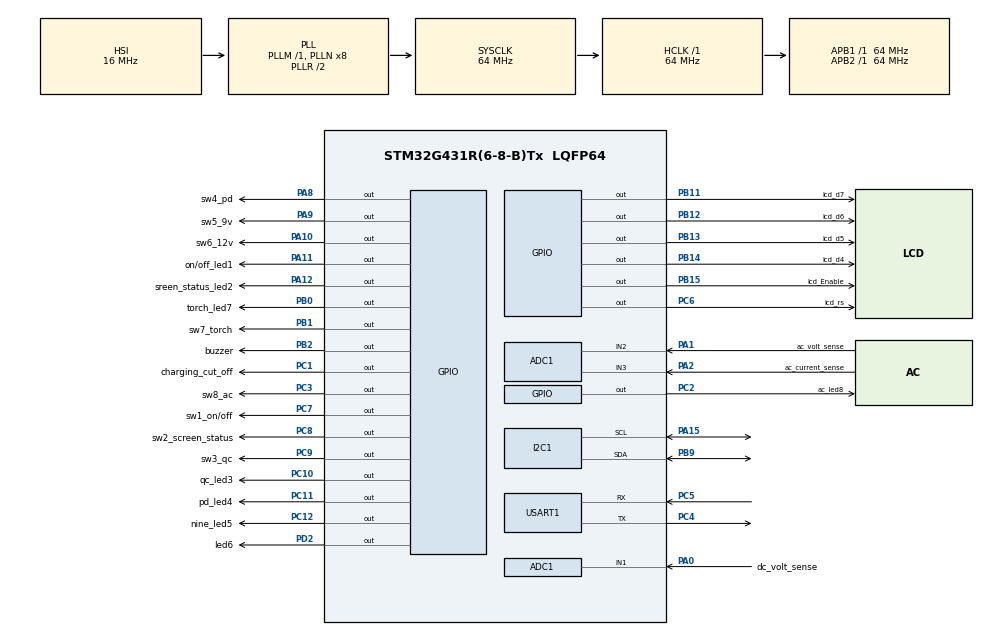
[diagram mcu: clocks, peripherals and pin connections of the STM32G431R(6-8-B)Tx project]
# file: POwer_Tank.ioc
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ADC1.Channel-9\#ChannelRegularConversion=ADC_CHANNEL_1
ADC1.NbrOfConversionFlag=1
ADC1.OffsetNumber-9\#ChannelRegularConversion=ADC_OFFSET_NONE
ADC1.Rank-9\#ChannelRegularConversion=1
ADC1.SamplingTime-9\#ChannelRegularConversion=ADC_SAMPLETIME_2CYCLES_5
ADC1.master=1
I2C1.Timing=0x10B17DB5
Mcu.Family=STM32G4
Mcu.Name=STM32G431R(6-8-B)Tx
Mcu.Package=LQFP64
NVIC.PriorityGroup=NVIC_PRIORITYGROUP_4
PA0.GPIO_Label=dc_volt_sense
PA0.Mode=IN1-Single-Ended
PA0.Signal=ADC1_IN1
PA1.GPIO_Label=ac_volt_sense
PA1.Mode=IN2-Single-Ended
PA1.Signal=ADC1_IN2
PA10.GPIO_Label=sw6_12v
PA10.Signal=GPIO_Output
PA11.GPIO_Label=on/off_led1
PA11.Signal=GPIO_Output
PA12.GPIO_Label=sreen_status_led2
PA12.Signal=GPIO_Output
PA13.Mode=Serial_Wire
PA13.Signal=SYS_JTMS-SWDIO
PA14.Mode=Serial_Wire
PA14.Signal=SYS_JTCK-SWCLK
PA15.Mode=I2C
PA15.Signal=I2C1_SCL
PA2.GPIO_Label=ac_current_sense
PA2.Mode=IN3-Single-Ended
PA2.Signal=ADC1_IN3
PA8.GPIO_Label=sw4_pd
PA8.Signal=GPIO_Output
PA9.GPIO_Label=sw5_9v
PA9.Signal=GPIO_Output
PB0.GPIO_Label=torch_led7
PB0.Signal=GPIO_Output
PB1.GPIO_Label=sw7_torch
PB1.Signal=GPIO_Output
PB11.GPIO_Label=lcd_d7
PB11.Signal=GPIO_Output
PB12.GPIO_Label=lcd_d6
PB12.Signal=GPIO_Output
PB13.GPIO_Label=lcd_d5
PB13.Signal=GPIO_Output
PB14.GPIO_Label=lcd_d4
PB14.Signal=GPIO_Output
PB15.GPIO_Label=lcd_Enable
PB15.Signal=GPIO_Output
PB2.GPIO_Label=buzzer
PB2.Signal=GPIO_Output
PB4.GPIO_Label=pwm_L2
PB4.Signal=S_TIM3_CH1
PB5.GPIO_Label=pmm_H2
PB5.Signal=S_TIM3_CH2
PB6.GPIO_Label=pwm_L1
PB6.Signal=S_TIM4_CH1
PB7.GPIO_Label=pwm_H1
PB7.Signal=S_TIM4_CH2
PB9.Mode=I2C
PB9.Signal=I2C1_SDA
PC1.GPIO_Label=charging_cut_off
PC1.Signal=GPIO_Output
PC10.GPIO_Label=qc_led3
PC10.Signal=GPIO_Output
PC11.GPIO_Label=pd_led4
PC11.Signal=GPIO_Output
PC12.GPIO_Label=nine_led5
PC12.Signal=GPIO_Output
PC14-OSC32_IN.Mode=LSE-External-Oscillator
PC14-OSC32_IN.Signal=RCC_OSC32_IN
PC15-OSC32_OUT.Mode=LSE-External-Oscillator
PC15-OSC32_OUT.Signal=RCC_OSC32_OUT
PC2.GPIO_Label=ac_led8
PC2.Signal=GPIO_Output
PC3.GPIO_Label=sw8_ac
PC3.Signal=GPIO_Output
PC4.Mode=Asynchronous
PC4.Signal=USART1_TX
PC5.Mode=Asynchronous
PC5.Signal=USART1_RX
PC6.GPIO_Label=lcd_rs
PC6.Signal=GPIO_Output
PC7.GPIO_Label=sw1_on/off
PC7.Signal=GPIO_Output
PC8.GPIO_Label=sw2_screen_status
PC8.Signal=GPIO_Output
PC9.GPIO_Label=sw3_qc
PC9.Signal=GPIO_Output
PD2.GPIO_Label=led6
PD2.Signal=GPIO_Output
PF0-OSC_IN.Mode=HSE-External-Oscillator
PF0-OSC_IN.Signal=RCC_OSC_IN
PF1-OSC_OUT.Mode=HSE-External-Oscillator
PF1-OSC_OUT.Signal=RCC_OSC_OUT
ProjectManager.HeapSize=0x200
ProjectManager.StackSize=0x400
ProjectManager.TargetToolchain=STM32CubeIDE
RCC.ADC12Freq_Value=64000000
RCC.AHBFreq_Value=64000000
RCC.APB1Freq_Value=64000000
RCC.APB1TimFreq_Value=64000000
RCC.APB2Freq_Value=64000000
RCC.APB2TimFreq_Value=64000000
RCC.CortexFreq_Value=64000000
RCC.EXTERNAL_CLOCK_VALUE=12288000
RCC.HCLKFreq_Value=64000000
RCC.HSE_VALUE=8000000
RCC.HSI48_VALUE=48000000
RCC.HSI_VALUE=16000000
RCC.SYSCLKFreq_VALUE=64000000
RCC.SYSCLKSource=RCC_SYSCLKSOURCE_PLLCLK
RCC.USBFreq_Value=64000000
RCC.VCOOutputFreq_Value=128000000
SH.S_TIM3_CH1.0=TIM3_CH1
SH.S_TIM3_CH2.0=TIM3_CH2
SH.S_TIM4_CH1.0=TIM4_CH1
SH.S_TIM4_CH2.0=TIM4_CH2
USART1.VirtualMode-Asynchronous=VM_ASYNC
VP_RTC_VS_RTC_Activate.Mode=RTC_Enabled
VP_SYS_VS_DBSignals.Mode=DisableDeadBatterySignals
board=custom

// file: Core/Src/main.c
/* USER CODE BEGIN Header */
/**
 ******************************************************************************
 * @file           : main.c
 * @brief          : Main program body
 ******************************************************************************
 * @attention
 *
 * Copyright (c) 2024 STMicroelectronics.
 * All rights reserved.
 *
 * This software is licensed under terms that can be found in the LICENSE file
 * in the root directory of this software component.
 * If no LICENSE file comes with this software, it is provided AS-IS.
 *
 ******************************************************************************
 */
/* USER CODE END Header */
#include "main.h"

/* USER CODE BEGIN Includes */

#include <stdio.h>

#define DS1307_ADDRESS 0x68 << 1 // This adderess for rtc operation
char timeData[15];
char dateData[15];

#define power pos
uint16_t pos;
uint16_t power;
uint8_t sw1_count = 1;
uint8_t sw2_count = 0;
uint8_t sw3_count = 0;
uint8_t sw4_count = 0;
uint8_t sw5_count = 0;
uint8_t sw6_count = 0;
uint8_t sw7_count = 0;

char msg[20];
uint16_t read_value=90;
float batt_persen;
uint16_t i = 0;

/********************--------DC VOLTAGE SENSE DEECLARATION START------------***************/
float dcvout = 0.0;
float dcvin = 0.0;
float R1 = 14000;
float R2 = 4600;
int dcvalue = 0;
/********************--------DC VOLTAGE SENSE DEECLARATION END------------***************/
/* USER CODE END Includes */

ADC_HandleTypeDef hadc1;

I2C_HandleTypeDef hi2c1;

RTC_HandleTypeDef hrtc;

UART_HandleTypeDef huart1;

/* USER CODE BEGIN PV */
// enum batt_persen {}

/* USER CODE END PV */

void SystemClock_Config(void);
static void MX_GPIO_Init(void);
static void MX_ADC1_Init(void);
static void MX_USART1_UART_Init(void);
static void MX_RTC_Init(void);
static void MX_I2C1_Init(void);

/* USER CODE BEGIN 0 */

/********************** simple ocde start******************/

enum power
{
  standby,
  scrn_status,
  qc,
  pd,
  dc_9v,
  dc_12v,
  AC
};

void standby_data()
{

  if (sw1_count == 1)
  {
    // lcd_clear();
    // default_lcd_print_page1();
    HAL_GPIO_WritePin(on_off_led1_GPIO_Port, on_off_led1_Pin, GPIO_PIN_SET);
    //	  HAL_Delay(300);
    HAL_GPIO_WritePin(sreen_status_led2_GPIO_Port, sreen_status_led2_Pin, GPIO_PIN_RESET);
    HAL_GPIO_WritePin(qc_led3_GPIO_Port, qc_led3_Pin, GPIO_PIN_RESET);
    HAL_GPIO_WritePin(pd_led4_GPIO_Port, pd_led4_Pin, GPIO_PIN_RESET);
    HAL_GPIO_WritePin(nine_led5_GPIO_Port, nine_led5_Pin, GPIO_PIN_RESET);
    HAL_GPIO_WritePin(led6_GPIO_Port, led6_Pin, GPIO_PIN_RESET);
    HAL_GPIO_WritePin(sreen_status_led2_GPIO_Port, sreen_status_led2_Pin, GPIO_PIN_RESET);
    power = 0;
  }
  else if (sw1_count == 0)
  {
    // lcd_clear();
    power = 0;
  }
}
// uint16_t batt_per = 0;
void screen_status_data()
{
  if (sw2_count == 1)
  {

    HAL_GPIO_WritePin(sreen_status_led2_GPIO_Port, sreen_status_led2_Pin, GPIO_PIN_SET);

    lcd_puts(0, 7, (int8_t *)timeData);
    lcd_puts(1, 7, (int8_t *)dateData);
    power = 1;
    // lcd_puts(0, 7, (int8_t *)batt_per);
  }
  else if (sw2_count == 0)
  {
    // HAL_GPIO_WritePin(sreen_status_led2_GPIO_Port, sreen_status_led2_Pin, GPIO_PIN_RESET);
    lcd_puts(0, 7, (int8_t *)timeData);
    lcd_puts(1, 7, (int8_t *)dateData);
    power = 1;
  }
}

void Qc_data()
{
  if (sw3_count == 1)
  {
    HAL_GPIO_WritePin(qc_led3_GPIO_Port, qc_led3_Pin, GPIO_PIN_SET);
    lcd_puts(0, 17, (int8_t *)"ON");
    // lcd_puts(0, 19, (int8_t *)" ");
    power = 2;
    // HAL_Delay(300);
  }
  else if (sw3_count == 0)
  {
    HAL_GPIO_WritePin(qc_led3_GPIO_Port, qc_led3_Pin, GPIO_PIN_RESET);
    lcd_puts(0, 17, (int8_t *)"OFF");
    //    lcd_puts(0, 16, (int8_t *)">");

    power = 2;
    // HAL_Delay(300);
  }
}
void pd_data()
{
  if (sw4_count == 1)
  {
    HAL_GPIO_WritePin(pd_led4_GPIO_Port, pd_led4_Pin, GPIO_PIN_SET);
    lcd_puts(1, 17, (int8_t *)"ON");

    power = 3;
    // HAL_Delay(300);
  }
  else if (sw4_count == 0)
  {
    HAL_GPIO_WritePin(pd_led4_GPIO_Port, pd_led4_Pin, GPIO_PIN_RESET);
    lcd_puts(1, 17, (int8_t *)"OFF");

    power = 3;
    // HAL_Delay(300);
  }
}
void dc9v_data()
{
  if (sw5_count == 1)
  {
    HAL_GPIO_WritePin(nine_led5_GPIO_Port, nine_led5_Pin, GPIO_PIN_SET);
    lcd_puts(0, 9, (int8_t *)"ON");
    //    lcd_puts(0, 8, (int8_t *)">");
    // nine_led5_GPIO_Port
    power = 4;
    // HAL_Delay(300);
  }
  else if (sw5_count == 0)
  {
    HAL_GPIO_WritePin(nine_led5_GPIO_Port, nine_led5_Pin, GPIO_PIN_RESET);
    lcd_puts(0, 8, (int8_t *)"OFF");
    //    lcd_puts(0, 8, (int8_t *)">");

    power = 4;
    // HAL_Delay(300);
  }
}
void dc12v_data()
{
  if (sw6_count == 1)
  {
    HAL_GPIO_WritePin(led6_GPIO_Port, led6_Pin, GPIO_PIN_SET);
    lcd_puts(1, 9, (int8_t *)"ON");
    //    lcd_puts(1, 8, (int8_t *)">");
    power = 5;
    // HAL_Delay(300);
  }
  else if (sw6_count == 0)
  {
    HAL_GPIO_WritePin(led6_GPIO_Port, led6_Pin, GPIO_PIN_RESET);
    lcd_puts(1, 8, (int8_t *)"OFF");
    //    lcd_puts(1, 8, (int8_t *)">");
    power = 5;
    // HAL_Delay(300);
  }
}
void AC_data()
{
  if (sw7_count == 1)
  {
    //	  HAL_GPIO_WritePin(AC_led7_GPIO_Port, AC_led7_Pin, GPIO_PIN_RESET);
    lcd_puts(2, 9, (int8_t *)"ON");
    //    lcd_puts(1, 8, (int8_t *)">");
    power = 5;
    // HAL_Delay(300);
  }
  else if (sw7_count == 0)
  {
    //	  HAL_GPIO_WritePin(AC_led7_GPIO_Port, AC_led7_Pin, GPIO_PIN_SET);
    lcd_puts(2, 8, (int8_t *)"OFF");
    //    lcd_puts(1, 8, (int8_t *)">");
    power = 6;
    // HAL_Delay(300);
  }
}

void initail_condition_off()
{
  HAL_GPIO_WritePin(on_off_led1_GPIO_Port, on_off_led1_Pin, GPIO_PIN_RESET);
  HAL_GPIO_WritePin(sreen_status_led2_GPIO_Port, sreen_status_led2_Pin, GPIO_PIN_RESET);
}

void uart1_test_serial_data()
{
//  HAL_ADC_Start(&hadc1);
//  HAL_ADC_PollForConversion(&hadc1, 300);
//  read_value = HAL_ADC_GetValue(&hadc1);
  //		  		  sprintf(msg, "read =  %hu\r\n", read_value);
  //		  		  HAL_Delay(500);
  //   HAL_UART_Transmit(&huart1, (uint16_t *)msg, strlen(msg), HAL_MAX_DELAY);
  //
  //		  if(read_value < 1900)
  //		  {
  //			  read_value =0;
  //		  }
  //		float  hh =read_value*(3.3 /4096);
  //	//	    i++;
  //		batt_persen =hh *5.001;
  //		  		  sprintf(msg, " DC volt =  %.2f\r\n", hh );
  //		  		HAL_UART_Transmit(&huart1, (uint8_t *)msg, strlen(msg), 300);
  //		  sprintf(buffer, "%02d", data_reg.intensity);
  //	     			  lcd_puts(0, 0, (int8_t *)msg);
  // HAL_Delay(500);
}

/********************** simple code end ******************/

/***************---RTC START CODE---****************/

// Convert normal decimal numbers to binary coded decimal

uint8_t decToBcd(int val) // change by rahul  start
{
  return (uint8_t)((val / 10 * 16) + (val % 10)); // change by rahul  start
}

// Convert binary coded decimal to normal decimal numbers
int bcdToDec(uint8_t val) // change by rahul  start
{
  return (int)((val / 16 * 10) + (val % 16));
}

typedef struct
{
  uint8_t seconds;
  uint8_t minutes;
  uint8_t hour;
  uint8_t dayofweek;
  uint8_t dayofmonth;
  uint8_t month;
  uint8_t year;
} TIME;

TIME time;

// char timeData[15];
// char dateData[15];

void set_time(uint8_t hr, uint8_t min, uint8_t sec)
{
  RTC_TimeTypeDef sTime = {0};

  sTime.Hours = hr;
  sTime.Minutes = min;
  sTime.Seconds = sec;
  sTime.DayLightSaving = RTC_DAYLIGHTSAVING_NONE;
  sTime.StoreOperation = RTC_STOREOPERATION_RESET;
  if (HAL_RTC_SetTime(&hrtc, &sTime, RTC_FORMAT_BIN) != HAL_OK)
  {
    Error_Handler();
  }
}

void set_date(uint8_t year, uint8_t month, uint8_t date, uint8_t day) // monday = 1   // change by rahul
{

  RTC_DateTypeDef sDate = {0};
  sDate.WeekDay = day;
  sDate.Month = month;
  sDate.Date = date;
  sDate.Year = year;
  if (HAL_RTC_SetDate(&hrtc, &sDate, RTC_FORMAT_BIN) != HAL_OK)
  {
    Error_Handler();
  }

  HAL_RTCEx_BKUPWrite(&hrtc, RTC_BKP_DR1, 0x2345); // backup register
}

void get_time_date(char *time, char *date) // change by rahul
{
  RTC_DateTypeDef gDate;
  RTC_TimeTypeDef gTime;

  /* Get the RTC current Time */
  HAL_RTC_GetTime(&hrtc, &gTime, RTC_FORMAT_BIN);
  /* Get the RTC current Date */
  HAL_RTC_GetDate(&hrtc, &gDate, RTC_FORMAT_BIN);

  /* Display time Format: hh:mm:ss */
  sprintf((char *)time, "%02d:%02d:%02d", gTime.Hours, gTime.Minutes, gTime.Seconds);

  /* Display date Format: dd-mm-yyyy */
  sprintf((char *)date, "%02d-%02d-%2d", gDate.Date, gDate.Month, 2000 + gDate.Year);
}

/**
 * @brief  Write an amount of data in blocking mode to a specific memory address
 * @param  hi2c Pointer to a I2C_HandleTypeDef structure that contains
 *                the configuration information for the specified I2C.
 * @param  DevAddress Target device address: The device 7 bits address value
 *         in datasheet must be shifted to the left before calling the interface
 * @param  MemAddress Internal memory address
 * @param  MemAddSize Size of internal memory address
 * @param  pData Pointer to data buffer
 * @param  Size Amount of data to be sent
 * @param  Timeout Timeout duration
 * @retval HAL status
 */
HAL_StatusTypeDef HAL_I2C_Mem_Write(I2C_HandleTypeDef *hi2c1, uint16_t DevAddress, uint16_t MemAddress, uint16_t MemAddSize, uint8_t *pData, uint16_t Size, uint32_t Timeout);

/***************---RTC END CODE---****************/

/*********************************------PERSENTAGE CODE START---------*********************/
void battery_persentage()
{
//    HAL_ADC_Start(&hadc1);
//    HAL_ADC_PollForConversion(&hadc1, 300);
//    read_value = HAL_ADC_GetValue(&hadc1);
//    sprintf(msg, "read =  %hu\r\n", read_value);
//  //		  		  HAL_Delay(500);
//     HAL_UART_Transmit(&huart1, (uint16_t *)msg, strlen(msg), HAL_MAX_DELAY);

	    HAL_ADC_Start(&hadc1);
	    HAL_ADC_PollForConversion(&hadc1, 300);
	    dcvalue = HAL_ADC_GetValue(&hadc1);
	    dcvout = (dcvalue * 5.0)  / 4096;
	    dcvin = dcvout / (R2 / (R1 + R2));
	    sprintf(msg, "Batt % =  %3.2f\r\n", dcvin);
	    HAL_UART_Transmit(&huart1, (uint16_t *)msg, strlen(msg), HAL_MAX_DELAY);
	    if ( dcvin > 12.50)
	    {
	    	lcd_puts(2, 9, (int8_t *)" ");
	    	lcd_puts(2, 6, (int8_t *)"100%");
	    	sprintf(msg, "100% \r\n");
//	        Serial.println("batt = 00%");
	      //   digitalWrite(a, HIGH);
	      //   Serial.println("100%");
	      }else if(dcvin <= 12.5 && dcvin > 12.42)
	      {
	    	  lcd_puts(2, 9, (int8_t *)" ");
	    	  lcd_puts(2, 6, (int8_t *)"90%");
	    	  sprintf(msg, "90% \r\n");
//	         Serial.println("batt = 10%");
	      //   digitalWrite(a, LOW);
	      }else if(dcvin <= 12.42 && dcvin > 12.32)
	      {
	    	  lcd_puts(2, 9, (int8_t *)" ");
	    	  lcd_puts(2, 6, (int8_t *)"80%");
	    	  sprintf(msg, "80% \r\n");
//	         Serial.println("batt = 20%");
	      //   digitalWrite(a, LOW);
	      }else if(dcvin <= 12.32 && dcvin > 12.20)
	      {
	    	  lcd_puts(2, 9, (int8_t *)" ");
	    	  lcd_puts(2, 6, (int8_t *)"70%");
	    	  sprintf(msg, "70% \r\n");
//	         Serial.println("batt = 30%");
	      //   digitalWrite(a, LOW);
	      }else if(dcvin <= 12.20 && dcvin > 12.06)
	      {
	    	  lcd_puts(2, 9, (int8_t *)" ");
	    	  lcd_puts(2, 6, (int8_t *)"60%");
	    	  sprintf(msg, "60% \r\n");
//	         Serial.println("batt = 40%");
	      //   digitalWrite(a, LOW);
	      }else if(dcvin <= 12.06 && dcvin > 11.9)
	      {
	    	  lcd_puts(2, 9, (int8_t *)" ");
	    	  lcd_puts(2, 6, (int8_t *)"50%");
	    	  sprintf(msg, "50% \r\n");
//	         Serial.println("batt = 50%");
	      //   digitalWrite(a, LOW);
	      }else if(dcvin <= 11.9 && dcvin > 11.75)
	      {
	    	  lcd_puts(2, 9, (int8_t *)" ");
	    	  lcd_puts(2, 6, (int8_t *)"40%");
	    	  sprintf(msg, "40% \r\n");
//	         Serial.println("batt = 60%");
	      //   digitalWrite(a, LOW);
	      }else if(dcvin <= 11.75 && dcvin > 11.58)
	      {
	    	  lcd_puts(2, 9, (int8_t *)" ");
	    	  lcd_puts(2, 6, (int8_t *)"30%");
	    	  sprintf(msg, "30% \r\n");
//	         Serial.println("batt = 70%");
	      //   digitalWrite(a, LOW);
	      }else if(dcvin <= 11.58 && dcvin > 11.31)
	      {
	    	  lcd_puts(2, 9, (int8_t *)" ");
	    	  lcd_puts(2, 6, (int8_t *)"20%");
	    	  sprintf(msg, "20% \r\n");
//	         Serial.println("batt = 80%");
	      //   digitalWri,te(a, LOW);
	      }else if(dcvin <= 11.31 && dcvin > 10.75)
	      {
	    	  lcd_puts(2, 9, (int8_t *)" ");
	    	  lcd_puts(2, 6, (int8_t *)"10%");
	    	  sprintf(msg, "10% \r\n");
//	         Serial.println("batt = 90%");
	      //   digitalWrite(a, LOW);
	      }else if(dcvin <= 10.75 )
	      {
	    	  lcd_puts(2, 9, (int8_t *)" ");
	    	  lcd_puts(2, 6, (int8_t *)"00%");
	    	  sprintf(msg, "00% \r\n");
//	         Serial.println("batt = 100%");
	      //   digitalWrite(a, LOW);
	      }
	    HAL_UART_Transmit(&huart1, (uint16_t *)msg, strlen(msg), HAL_MAX_DELAY);

//     dcvalue = analogRead(A1);
//     dcvout = (dcvalue * 5.0)  / 1024;
//     // vin = vout / (R2 / (R1 + R2));
//      dcvin = dcvout / (R2 / (R1 + R2));
//     Serial.println("Input Voltage = ");
//     Serial.println(vin);
  //
  //		  if(read_value < 1900)
  //		  {
  //			  read_value =0;
  //		  }
  //		float  hh =read_value*(3.3 /4096);
  //	//	    i++;
  //		batt_persen =hh *5.001;
  //		  		  sprintf(msg, " DC volt =  %.2f\r\n", hh );
  //		  		HAL_UART_Transmit(&huart1, (uint8_t *)msg, strlen(msg), 300);
  //		  sprintf(buffer, "%02d", data_reg.intensity);
  //	     			  lcd_puts(0, 0, (int8_t *)msg);
   HAL_Delay(1000);

}
/*********************************------PERSENTAGE CODE END---------*********************/

/* USER CODE END 0 */

int main(void)
{

  /* MCU Configuration--------------------------------------------------------*/

  /* Reset of all peripherals, Initializes the Flash interface and the Systick. */
  HAL_Init();

  /* Configure the system clock */
  SystemClock_Config();

  /* Initialize all configured peripherals */
  MX_GPIO_Init();
  MX_ADC1_Init();
  MX_USART1_UART_Init();
  MX_RTC_Init();
  MX_I2C1_Init();
  /* USER CODE BEGIN 2 */
  lcd_init();
  /***************---RTC START CODE---****************/
  if (HAL_RTCEx_BKUPRead(&hrtc, RTC_BKP_DR1) != 0x2345)
  {
    set_time(17, 30, 2);
    set_date(24, 11, 21, 7);
  }
  /***************---RTC END CODE---****************/

  //   lcd_puts(0, 0, (int8_t *)"hello  ");
  //  HAL_ADC_Start(&hadc1);
  //	  HAL_ADC_PollForConversion(&hadc1,20);
  //	uint16_t  read_value = HAL_ADC_GetValue(&hadc1);
  //	  sprintf(msg, "the value of =  %hu\r\n", read_value );
  //  HAL_UART_Transmit(&huart1, (const uint8_t *)msg, strlen(msg), HAL_MAX_DELAY);
  //  lcd_put_cur(0,0);
  //  lcd_send_string ("hello world");
  //&huart1
  //  HAL_UART_Transmit(&huart1, test, sizeof(test), 1000);
  //  HAL_UART_Transmit(&huart1, nl, sizeof(nl), 1000);
  //  HAL_UART_Transmit(&huart1, test1, sizeof(test1), 1000);
  //  HAL_UART_Transmit(&huart1, nl1, sizeof(nl1), 25);
  //  HAL_UART_Transmit(&huart2, test, sizeof(test), 1000);
  //  HAL_UART_Transmit(&huart1, nl, sizeof(nl), 1000);
  //  HAL_UART_Transmit(&huart1, test1, sizeof(test1), 1000);
  //  HAL_UART_Transmit(&huart1, nl1, sizeof(nl1), 25);
  /* USER CODE END 2 */

  /* Infinite loop */
  while (1)
  {

    /* USER CODE BEGIN 3 */

    /***************---RTC START CODE---****************/

    get_time_date(timeData, dateData);
//    battery_persentage();
    //	  sprintf(msg, "the value of =  %hu\r\n", read_value );
    // lcd_puts(0, 6, (int8_t *)timeData);
    // lcd_puts(1, 6, (int8_t *)dateData);
    //    HAL_UART_Transmit(&huart1, (const uint8_t *)timeData, strlen(timeData), HAL_MAX_DELAY);
    //    HAL_UART_Transmit(&huart1, (const uint8_t *)"\r\n", 2, HAL_MAX_DELAY);
    //    HAL_UART_Transmit(&huart1, (const uint8_t *)dateData, strlen(dateData), HAL_MAX_DELAY);
    //    HAL_UART_Transmit(&huart1, (const uint8_t *)"\r\n", 2, HAL_MAX_DELAY);
    //    HAL_Delay(1000);
    /***************---RTC END CODE---****************/

    uart1_test_serial_data();
    initail_condition_off();
    /***********************************Prg start*************************************/
    if (HAL_GPIO_ReadPin(sw1_on_off_GPIO_Port, sw1_on_off_Pin) == 1) // This is pin connected to pc7
    {
      lcd_clear();
      sw1_count++;
      if (sw1_count == 2)
      {
        sw1_count = 0;
        power = 0;
      }
      power = 0;
      // HAL_Delay(300);
    }
    else if (HAL_GPIO_ReadPin(sw2_screen_status_GPIO_Port, sw2_screen_status_Pin) == 1) // This is pin connected to pc8
    {
      lcd_clear();

      sw2_count++;
      if (sw2_count == 2)
      {
        sw2_count = 0;
        power = 1;
      }
      power = 1;
      // HAL_Delay(300);
    }
    else if (HAL_GPIO_ReadPin(sw3_qc_GPIO_Port, sw3_qc_Pin) == 1) // This is pin connected to pc9
    {
      lcd_clear();
      sw3_count++;
      if (sw3_count == 2)
      {
        sw3_count = 0;
        power = 2;
      }
      power = 2;
      // HAL_Delay(300);
    }
    else if (HAL_GPIO_ReadPin(sw4_pd_GPIO_Port, sw4_pd_Pin) == 1) // This is pin connected to PA8
    {
      lcd_clear();
      sw4_count++;
      if (sw4_count == 2)
      {
        sw4_count = 0;
        power = 3;
      }
      power = 3;
      // HAL_Delay(300);
    }
    else if (HAL_GPIO_ReadPin(sw5_9v_GPIO_Port, sw5_9v_Pin) == 1) // This is pin connected to PA9
    {
      lcd_clear();
      sw5_count++;
      if (sw5_count == 2)
      {
        sw5_count = 0;
        power = 4;
      }
      power = 4;
      // HAL_Delay(300);
    }
    else if (HAL_GPIO_ReadPin(sw6_12v_GPIO_Port, sw6_12v_Pin) == 1) // This is pin connected to PA10
    {
      lcd_clear();
      sw6_count++;
      if (sw6_count == 2)
      {
        sw6_count = 0;
        power = 5;
      }
      power = 5;
      //       HAL_Delay(300);
    }
    //      else if (HAL_GPIO_ReadPin(sw7_AC_GPIO_Port, sw7_AC_Pin) == 1) // This is pin connected to PA10
    //    {
    //      lcd_clear();
    //      sw7_count++;
    //      if (sw6_count == 2)
    //      {
    //        sw7_count = 0;
    //        power = 6;
    //      }
    //      power = 6;
    // HAL_Delay(300);
    //    }

    switch (pos)
    {
    case standby:
      /* code */
    	 battery_persentage();
      standby_data();
      get_time_date(timeData, dateData);
      HAL_GPIO_WritePin(on_off_led1_GPIO_Port, on_off_led1_Pin, GPIO_PIN_SET);
      // lcd_clear();
      default_lcd_print_page1();
      // HAL_Delay(100);

      break;
    case scrn_status:
      /* code */

      HAL_GPIO_WritePin(sreen_status_led2_GPIO_Port, sreen_status_led2_Pin, GPIO_PIN_SET);

      default_lcd_print_page2();
      screen_status_data();
      break;
    case qc:
      /* code */
      lcd_puts(0, 11, (int8_t *)">");
      lcd_puts(1, 11, (int8_t *)" ");
      default_lcd_print_page3();
      Qc_data();
      pd_data();
      dc9v_data();
      dc12v_data();
      AC_data();
      //    lcd_puts(1, 9, (int8_t *)"OFF");

      break;
    case pd:
      /* code */
      lcd_puts(0, 0, (int8_t *)" ");
      lcd_puts(1, 0, (int8_t *)" ");
      lcd_puts(2, 0, (int8_t *)" ");
      lcd_puts(0, 11, (int8_t *)" ");
      lcd_puts(1, 11, (int8_t *)">");
      default_lcd_print_page3();
      pd_data();
      Qc_data();
      dc9v_data();
      dc12v_data();
      AC_data();

      break;
    case dc_9v:
      /* code */
      lcd_puts(0, 0, (int8_t *)">");
      lcd_puts(1, 0, (int8_t *)" ");
      lcd_puts(2, 0, (int8_t *)" ");
      lcd_puts(0, 11, (int8_t *)" ");
      lcd_puts(1, 11, (int8_t *)" ");
      default_lcd_print_page3();
      dc9v_data();
      dc12v_data();
      pd_data();
      Qc_data();
      AC_data();
      break;
    case dc_12v:
      lcd_puts(0, 0, (int8_t *)" ");
      lcd_puts(1, 0, (int8_t *)">");
      lcd_puts(2, 0, (int8_t *)" ");
      lcd_puts(0, 11, (int8_t *)" ");
      lcd_puts(1, 11, (int8_t *)" ");
      default_lcd_print_page3();
      dc9v_data();
      dc12v_data();
      pd_data();
      Qc_data();
      AC_data();
    case AC:
      //    	lcd_puts(0, 0, (int8_t *)" ");
      //    	    	lcd_puts(1, 0, (int8_t *)" ");
      //    	    	lcd_puts(2, 0, (int8_t *)">");
      //    	    	lcd_puts(0, 11, (int8_t *)" ");
      //    	    	lcd_puts(1, 11, (int8_t *)" ");
      default_lcd_print_page3();
      dc9v_data();
      dc12v_data();
      pd_data();
      Qc_data();
      AC_data();
      /* code */
      break;

    default:
      break;
    }

    /*************************GPIOPA7 START*********************************/
  }
  /* USER CODE END 3 */
}

void SystemClock_Config(void)
{
  RCC_OscInitTypeDef RCC_OscInitStruct = {0};
  RCC_ClkInitTypeDef RCC_ClkInitStruct = {0};

  /** Configure the main internal regulator output voltage
   */
  HAL_PWREx_ControlVoltageScaling(PWR_REGULATOR_VOLTAGE_SCALE1);

  /** Initializes the RCC Oscillators according to the specified parameters
   * in the RCC_OscInitTypeDef structure.
   */
  RCC_OscInitStruct.OscillatorType = RCC_OSCILLATORTYPE_HSI | RCC_OSCILLATORTYPE_LSI;
  RCC_OscInitStruct.HSIState = RCC_HSI_ON;
  RCC_OscInitStruct.HSICalibrationValue = RCC_HSICALIBRATION_DEFAULT;
  RCC_OscInitStruct.LSIState = RCC_LSI_ON;
  RCC_OscInitStruct.PLL.PLLState = RCC_PLL_ON;
  RCC_OscInitStruct.PLL.PLLSource = RCC_PLLSOURCE_HSI;
  RCC_OscInitStruct.PLL.PLLM = RCC_PLLM_DIV1;
  RCC_OscInitStruct.PLL.PLLN = 8;
  RCC_OscInitStruct.PLL.PLLP = RCC_PLLP_DIV2;
  RCC_OscInitStruct.PLL.PLLQ = RCC_PLLQ_DIV2;
  RCC_OscInitStruct.PLL.PLLR = RCC_PLLR_DIV2;
  if (HAL_RCC_OscConfig(&RCC_OscInitStruct) != HAL_OK)
  {
    Error_Handler();
  }

  /** Initializes the CPU, AHB and APB buses clocks
   */
  RCC_ClkInitStruct.ClockType = RCC_CLOCKTYPE_HCLK | RCC_CLOCKTYPE_SYSCLK | RCC_CLOCKTYPE_PCLK1 | RCC_CLOCKTYPE_PCLK2;
  RCC_ClkInitStruct.SYSCLKSource = RCC_SYSCLKSOURCE_PLLCLK;
  RCC_ClkInitStruct.AHBCLKDivider = RCC_SYSCLK_DIV1;
  RCC_ClkInitStruct.APB1CLKDivider = RCC_HCLK_DIV1;
  RCC_ClkInitStruct.APB2CLKDivider = RCC_HCLK_DIV1;

  if (HAL_RCC_ClockConfig(&RCC_ClkInitStruct, FLASH_LATENCY_2) != HAL_OK)
  {
    Error_Handler();
  }
}

static void MX_ADC1_Init(void)
{

  ADC_MultiModeTypeDef multimode = {0};
  ADC_ChannelConfTypeDef sConfig = {0};

  /** Common config
   */
  hadc1.Instance = ADC1;
  hadc1.Init.ClockPrescaler = ADC_CLOCK_SYNC_PCLK_DIV2;
  hadc1.Init.Resolution = ADC_RESOLUTION_12B;
  hadc1.Init.DataAlign = ADC_DATAALIGN_RIGHT;
  hadc1.Init.GainCompensation = 0;
  hadc1.Init.ScanConvMode = ADC_SCAN_DISABLE;
  hadc1.Init.EOCSelection = ADC_EOC_SINGLE_CONV;
  hadc1.Init.LowPowerAutoWait = DISABLE;
  hadc1.Init.ContinuousConvMode = DISABLE;
  hadc1.Init.NbrOfConversion = 1;
  hadc1.Init.DiscontinuousConvMode = DISABLE;
  hadc1.Init.ExternalTrigConv = ADC_SOFTWARE_START;
  hadc1.Init.ExternalTrigConvEdge = ADC_EXTERNALTRIGCONVEDGE_NONE;
  hadc1.Init.DMAContinuousRequests = DISABLE;
  hadc1.Init.Overrun = ADC_OVR_DATA_PRESERVED;
  hadc1.Init.OversamplingMode = DISABLE;
  if (HAL_ADC_Init(&hadc1) != HAL_OK)
  {
    Error_Handler();
  }

  /** Configure the ADC multi-mode
   */
  multimode.Mode = ADC_MODE_INDEPENDENT;
  if (HAL_ADCEx_MultiModeConfigChannel(&hadc1, &multimode) != HAL_OK)
  {
    Error_Handler();
  }

  /** Configure Regular Channel
   */
  sConfig.Channel = ADC_CHANNEL_1;
  sConfig.Rank = ADC_REGULAR_RANK_1;
  sConfig.SamplingTime = ADC_SAMPLETIME_2CYCLES_5;
  sConfig.SingleDiff = ADC_SINGLE_ENDED;
  sConfig.OffsetNumber = ADC_OFFSET_NONE;
  sConfig.Offset = 0;
  if (HAL_ADC_ConfigChannel(&hadc1, &sConfig) != HAL_OK)
  {
    Error_Handler();
  }
}

static void MX_I2C1_Init(void)
{

  hi2c1.Instance = I2C1;
  hi2c1.Init.Timing = 0x10B17DB5;
  hi2c1.Init.OwnAddress1 = 0;
  hi2c1.Init.AddressingMode = I2C_ADDRESSINGMODE_7BIT;
  hi2c1.Init.DualAddressMode = I2C_DUALADDRESS_DISABLE;
  hi2c1.Init.OwnAddress2 = 0;
  hi2c1.Init.OwnAddress2Masks = I2C_OA2_NOMASK;
  hi2c1.Init.GeneralCallMode = I2C_GENERALCALL_DISABLE;
  hi2c1.Init.NoStretchMode = I2C_NOSTRETCH_DISABLE;
  if (HAL_I2C_Init(&hi2c1) != HAL_OK)
  {
    Error_Handler();
  }

  /** Configure Analogue filter
   */
  if (HAL_I2CEx_ConfigAnalogFilter(&hi2c1, I2C_ANALOGFILTER_ENABLE) != HAL_OK)
  {
    Error_Handler();
  }

  /** Configure Digital filter
   */
  if (HAL_I2CEx_ConfigDigitalFilter(&hi2c1, 0) != HAL_OK)
  {
    Error_Handler();
  }
}

static void MX_RTC_Init(void)
{

  /** Initialize RTC Only
   */
  hrtc.Instance = RTC;
  hrtc.Init.HourFormat = RTC_HOURFORMAT_24;
  hrtc.Init.AsynchPrediv = 127;
  hrtc.Init.SynchPrediv = 255;
  hrtc.Init.OutPut = RTC_OUTPUT_DISABLE;
  hrtc.Init.OutPutRemap = RTC_OUTPUT_REMAP_NONE;
  hrtc.Init.OutPutPolarity = RTC_OUTPUT_POLARITY_HIGH;
  hrtc.Init.OutPutType = RTC_OUTPUT_TYPE_OPENDRAIN;
  hrtc.Init.OutPutPullUp = RTC_OUTPUT_PULLUP_NONE;
  if (HAL_RTC_Init(&hrtc) != HAL_OK)
  {
    Error_Handler();
  }
}

static void MX_USART1_UART_Init(void)
{

  huart1.Instance = USART1;
  huart1.Init.BaudRate = 115200;
  huart1.Init.WordLength = UART_WORDLENGTH_8B;
  huart1.Init.StopBits = UART_STOPBITS_1;
  huart1.Init.Parity = UART_PARITY_NONE;
  huart1.Init.Mode = UART_MODE_TX_RX;
  huart1.Init.HwFlowCtl = UART_HWCONTROL_NONE;
  huart1.Init.OverSampling = UART_OVERSAMPLING_16;
  huart1.Init.OneBitSampling = UART_ONE_BIT_SAMPLE_DISABLE;
  huart1.Init.ClockPrescaler = UART_PRESCALER_DIV1;
  huart1.AdvancedInit.AdvFeatureInit = UART_ADVFEATURE_NO_INIT;
  if (HAL_UART_Init(&huart1) != HAL_OK)
  {
    Error_Handler();
  }
  if (HAL_UARTEx_SetTxFifoThreshold(&huart1, UART_TXFIFO_THRESHOLD_1_8) != HAL_OK)
  {
    Error_Handler();
  }
  if (HAL_UARTEx_SetRxFifoThreshold(&huart1, UART_RXFIFO_THRESHOLD_1_8) != HAL_OK)
  {
    Error_Handler();
  }
  if (HAL_UARTEx_DisableFifoMode(&huart1) != HAL_OK)
  {
    Error_Handler();
  }
}

static void MX_GPIO_Init(void)
{
  GPIO_InitTypeDef GPIO_InitStruct = {0};

  /* GPIO Ports Clock Enable */
  __HAL_RCC_GPIOC_CLK_ENABLE();
  __HAL_RCC_GPIOF_CLK_ENABLE();
  __HAL_RCC_GPIOA_CLK_ENABLE();
  __HAL_RCC_GPIOB_CLK_ENABLE();
  __HAL_RCC_GPIOD_CLK_ENABLE();

  /*Configure GPIO pin Output Level */
  HAL_GPIO_WritePin(GPIOC, charging_cut_off_Pin | ac_led8_Pin | sw8_ac_Pin | lcd_rs_Pin | sw1_on_off_Pin | sw2_screen_status_Pin | sw3_qc_Pin | qc_led3_Pin | pd_led4_Pin | nine_led5_Pin, GPIO_PIN_RESET);

  /*Configure GPIO pin Output Level */
  HAL_GPIO_WritePin(GPIOB, torch_led7_Pin | sw7_torch_Pin | buzzer_Pin | lcd_d7_Pin | lcd_d6_Pin | lcd_d5_Pin | lcd_d4_Pin | lcd_Enable_Pin, GPIO_PIN_RESET);

  /*Configure GPIO pin Output Level */
  HAL_GPIO_WritePin(GPIOA, sw4_pd_Pin | sw5_9v_Pin | sw6_12v_Pin | on_off_led1_Pin | sreen_status_led2_Pin, GPIO_PIN_RESET);

  /*Configure GPIO pin Output Level */
  HAL_GPIO_WritePin(led6_GPIO_Port, led6_Pin, GPIO_PIN_RESET);

  /*Configure GPIO pins : charging_cut_off_Pin ac_led8_Pin sw8_ac_Pin lcd_rs_Pin
                           sw1_on_off_Pin sw2_screen_status_Pin sw3_qc_Pin qc_led3_Pin
                           pd_led4_Pin nine_led5_Pin */
  GPIO_InitStruct.Pin = charging_cut_off_Pin | ac_led8_Pin | sw8_ac_Pin | lcd_rs_Pin | sw1_on_off_Pin | sw2_screen_status_Pin | sw3_qc_Pin | qc_led3_Pin | pd_led4_Pin | nine_led5_Pin;
  GPIO_InitStruct.Mode = GPIO_MODE_OUTPUT_PP;
  GPIO_InitStruct.Pull = GPIO_NOPULL;
  GPIO_InitStruct.Speed = GPIO_SPEED_FREQ_LOW;
  HAL_GPIO_Init(GPIOC, &GPIO_InitStruct);

  /*Configure GPIO pins : torch_led7_Pin sw7_torch_Pin buzzer_Pin lcd_d7_Pin
                           lcd_d6_Pin lcd_d5_Pin lcd_d4_Pin lcd_Enable_Pin */
  GPIO_InitStruct.Pin = torch_led7_Pin | sw7_torch_Pin | buzzer_Pin | lcd_d7_Pin | lcd_d6_Pin | lcd_d5_Pin | lcd_d4_Pin | lcd_Enable_Pin;
  GPIO_InitStruct.Mode = GPIO_MODE_OUTPUT_PP;
  GPIO_InitStruct.Pull = GPIO_NOPULL;
  GPIO_InitStruct.Speed = GPIO_SPEED_FREQ_LOW;
  HAL_GPIO_Init(GPIOB, &GPIO_InitStruct);

  /*Configure GPIO pins : sw4_pd_Pin sw5_9v_Pin sw6_12v_Pin on_off_led1_Pin
                           sreen_status_led2_Pin */
  GPIO_InitStruct.Pin = sw4_pd_Pin | sw5_9v_Pin | sw6_12v_Pin | on_off_led1_Pin | sreen_status_led2_Pin;
  GPIO_InitStruct.Mode = GPIO_MODE_OUTPUT_PP;
  GPIO_InitStruct.Pull = GPIO_NOPULL;
  GPIO_InitStruct.Speed = GPIO_SPEED_FREQ_LOW;
  HAL_GPIO_Init(GPIOA, &GPIO_InitStruct);

  /*Configure GPIO pin : led6_Pin */
  GPIO_InitStruct.Pin = led6_Pin;
  GPIO_InitStruct.Mode = GPIO_MODE_OUTPUT_PP;
  GPIO_InitStruct.Pull = GPIO_NOPULL;
  GPIO_InitStruct.Speed = GPIO_SPEED_FREQ_LOW;
  HAL_GPIO_Init(led6_GPIO_Port, &GPIO_InitStruct);

  /*Configure GPIO pins : pwm_L2_Pin pmm_H2_Pin */
  GPIO_InitStruct.Pin = pwm_L2_Pin | pmm_H2_Pin;
  GPIO_InitStruct.Mode = GPIO_MODE_AF_PP;
  GPIO_InitStruct.Pull = GPIO_NOPULL;
  GPIO_InitStruct.Speed = GPIO_SPEED_FREQ_LOW;
  GPIO_InitStruct.Alternate = GPIO_AF2_TIM3;
  HAL_GPIO_Init(GPIOB, &GPIO_InitStruct);

  /*Configure GPIO pins : pwm_L1_Pin pwm_H1_Pin */
  GPIO_InitStruct.Pin = pwm_L1_Pin | pwm_H1_Pin;
  GPIO_InitStruct.Mode = GPIO_MODE_AF_PP;
  GPIO_InitStruct.Pull = GPIO_NOPULL;
  GPIO_InitStruct.Speed = GPIO_SPEED_FREQ_LOW;
  GPIO_InitStruct.Alternate = GPIO_AF2_TIM4;
  HAL_GPIO_Init(GPIOB, &GPIO_InitStruct);

}

void Error_Handler(void)
{
  __disable_irq();
  while (1)
  {
  }
}
